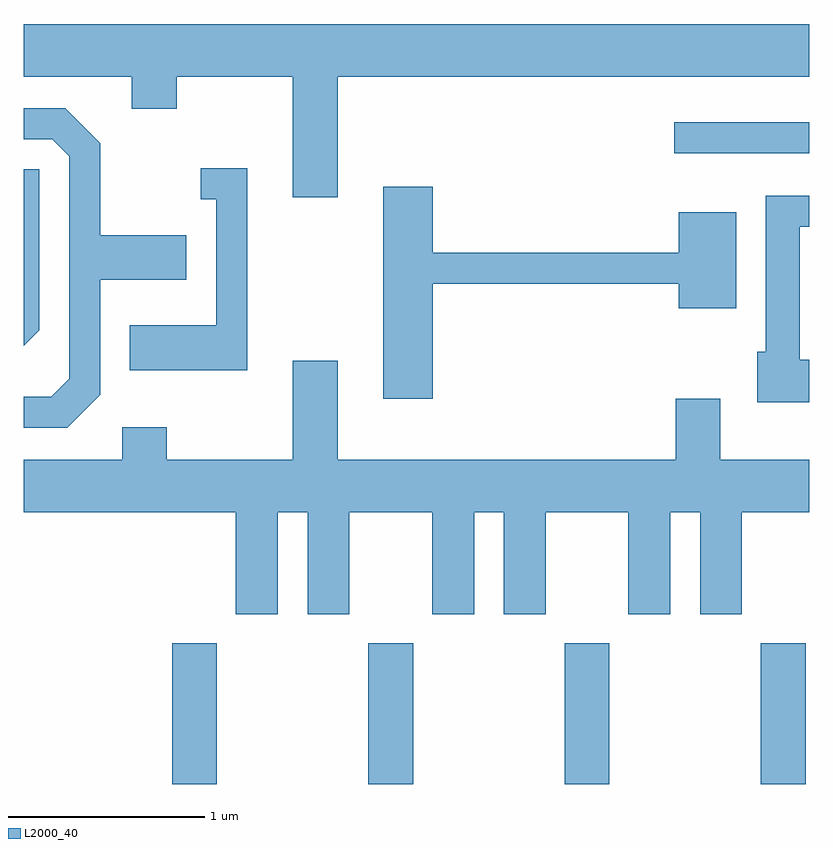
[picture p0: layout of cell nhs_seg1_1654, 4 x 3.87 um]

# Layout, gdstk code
import gdstk
lib = gdstk.Library(unit=1e-6, precision=1e-09)
def R(c, l, rs):  # rectangles x0, y0, x1, y1
    for r in rs: c.add(gdstk.rectangle(r[:2], r[2:], *l))
def A(c, l, x, y, w, h, nx, ny, dx, dy):  # array of equal rectangles
    R(c, l, [(x+i*dx, y+j*dy, x+i*dx+w, y+j*dy+h) for i in range(nx) for j in range(ny)])
def P(c, l, *ps):  # polygons
    for p in ps: c.add(gdstk.Polygon(p, *l))
L2000_40 = (2000, 40)

nhs_seg1_1654 = lib.new_cell('nhs_seg1_1654')
A(nhs_seg1_1654, L2000_40, 236.366, 933.712, 0.228, 0.717, 4, 1, 1, 0)
R(nhs_seg1_1654, L2000_40, [(238.923,936.926,239.611,937.084)])
P(nhs_seg1_1654, L2000_40, [(237.209,937.316),(239.611,937.316),(239.611,937.584),(235.611,937.584),(235.611,937.316),(236.161,937.316),(236.161,937.151),(236.389,937.151),(236.389,937.316),(236.981,937.316),(236.981,936.701),(237.209,936.701)],
  [(235.999,935.694),(235.999,936.281),(236.439,936.281),(236.439,936.509),(235.999,936.509),(235.999,936.977),(235.822,937.154),(235.611,937.154),(235.611,936.996),(235.754,936.996),(235.841,936.909),(235.841,935.777),(235.749,935.684),(235.611,935.684),(235.611,935.526),(235.832,935.526)],
  [(236.749,936.849),(236.513,936.849),(236.513,936.691),(236.591,936.691),(236.591,936.049),(236.151,936.049),(236.151,935.821),(236.749,935.821)],
  [(235.689,936.024),(235.689,936.844),(235.611,936.844),(235.611,935.946)],
  [(237.694,936.261),(238.946,936.261),(238.946,936.136),(239.239,936.136),(239.239,936.624),(238.946,936.624),(238.946,936.419),(237.694,936.419),(237.694,936.754),(237.441,936.754),(237.441,935.676),(237.694,935.676)],
  [(239.611,935.874),(239.564,935.874),(239.564,936.551),(239.611,936.551),(239.611,936.709),(239.391,936.709),(239.391,935.914),(239.346,935.914),(239.346,935.656),(239.611,935.656)],
  [(236.904,935.096),(237.056,935.096),(237.056,934.576),(237.269,934.576),(237.269,935.096),(237.691,935.096),(237.691,934.576),(237.904,934.576),(237.904,935.096),(238.056,935.096),(238.056,934.576),(238.269,934.576),(238.269,935.096),(238.691,935.096),(238.691,934.576),(238.904,934.576),(238.904,935.096),(239.056,935.096),(239.056,934.576),(239.269,934.576),(239.269,935.096),(239.611,935.096),(239.611,935.364),(239.159,935.364),(239.159,935.674),(238.931,935.674),(238.931,935.364),(237.209,935.364),(237.209,935.869),(236.981,935.869),(236.981,935.364),(236.339,935.364),(236.339,935.529),(236.111,935.529),(236.111,935.364),(235.611,935.364),(235.611,935.096),(236.691,935.096),(236.691,934.576),(236.904,934.576)])

lib.write_gds('nhs_seg1_1654.gds')
